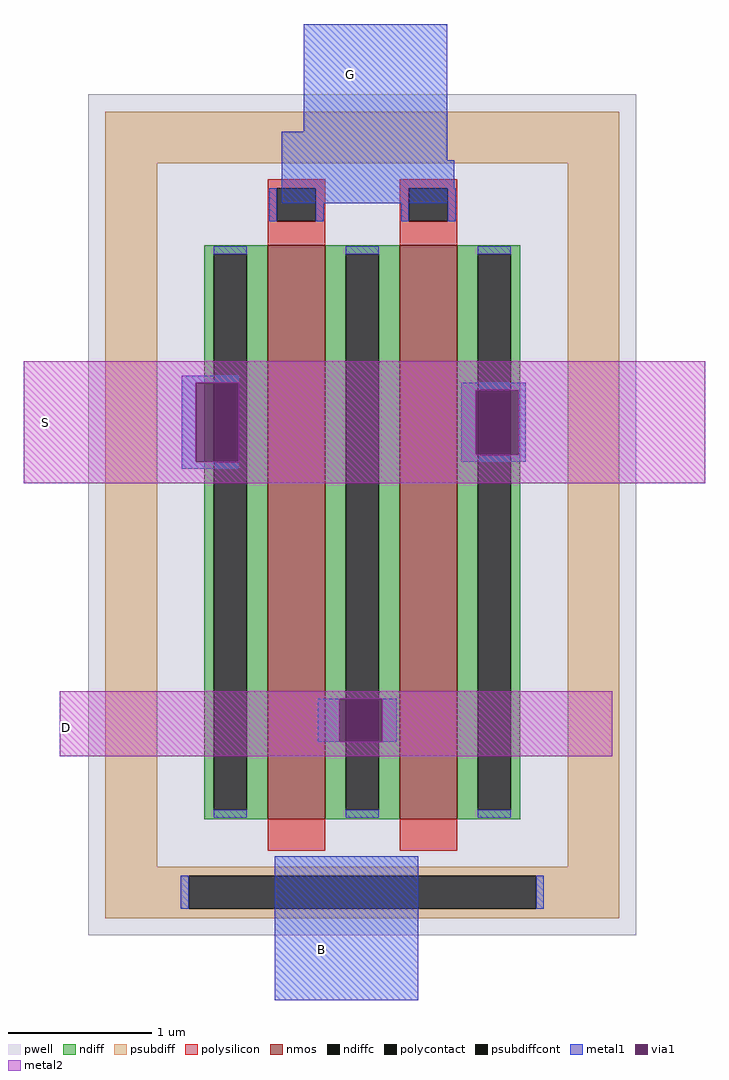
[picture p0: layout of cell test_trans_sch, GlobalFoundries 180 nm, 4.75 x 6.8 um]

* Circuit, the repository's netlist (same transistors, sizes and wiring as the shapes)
* NGSPICE file created from test_trans_sch.ext - technology: gf180mcuD

.subckt nfet_03v3_QETW5R a_52_n468# a_n358_n562# a_132_n424# a_n132_n468# a_n220_n424#
+ a_n52_n424#
X0 a_n52_n424# a_n132_n468# a_n220_n424# a_n358_n562# nfet_03v3 ad=1.04p pd=4.52u as=1.76p ps=8.88u w=4u l=0.4u
X1 a_132_n424# a_52_n468# a_n52_n424# a_n358_n562# nfet_03v3 ad=1.76p pd=8.88u as=1.04p ps=4.52u w=4u l=0.4u
.ends

.subckt test_trans_sch G B D S
XM1 G B S G S D nfet_03v3_QETW5R
.ends

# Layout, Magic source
magic
tech gf180mcuD
magscale 1 5
<< metal1 >>
rect 705 75 805 150
rect 690 55 805 75
rect 690 25 810 55
rect 620 -100 660 -95
rect 620 -155 630 -100
rect 815 -105 860 -100
rect 815 -150 825 -105
rect 855 -150 860 -105
rect 815 -155 860 -150
rect 620 -160 660 -155
rect 715 -350 730 -320
rect 760 -350 770 -320
rect 685 -530 785 -430
<< via1 >>
rect 630 -155 660 -100
rect 825 -150 855 -105
rect 730 -350 760 -320
<< metal2 >>
rect 510 -100 985 -85
rect 510 -155 630 -100
rect 660 -105 985 -100
rect 660 -150 825 -105
rect 855 -150 985 -105
rect 660 -155 985 -150
rect 510 -170 985 -155
rect 535 -320 920 -315
rect 535 -350 730 -320
rect 760 -350 920 -320
rect 535 -360 920 -350
use nfet_03v3_QETW5R  M1
transform 1 0 746 0 1 -192
box -191 -293 191 293
<< labels >>
rlabel metal2 525 -150 525 -105 7 S
port 3 w
rlabel metal2 540 -355 540 -325 7 D
port 2 w
rlabel metal1 720 110 755 120 7 G
port 0 w
rlabel metal1 700 -500 735 -490 7 B
port 1 w
<< end >>

# cell nfet_03v3_QETW5R: kit device nfet_03v3, w 4.0 l 0.4 m 1 nf 2 diffcov 100 polycov 100 guard 1 glc 0 grc 0 gtc 0 gbc 1 tbcov 100 rlcov 100 topc 1 botc 0 poverlap 0 doverlap 1 lmin 0.28 wmin 0.22 class mosfet full_metal 0 compatible {nfet_03v3 nfet_06v0 nfet_06v0_nvt}
